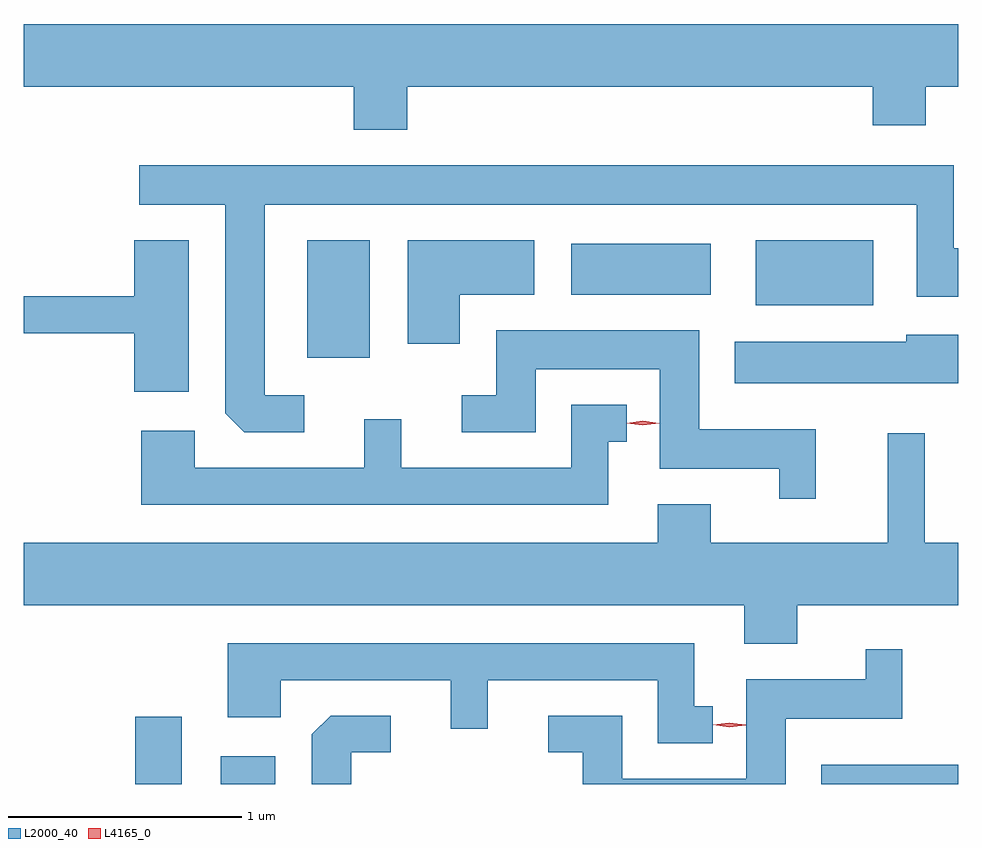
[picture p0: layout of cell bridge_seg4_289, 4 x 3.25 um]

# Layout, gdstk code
import gdstk
lib = gdstk.Library(unit=1e-6, precision=1e-09)
def R(c, l, rs):  # rectangles x0, y0, x1, y1
    for r in rs: c.add(gdstk.rectangle(r[:2], r[2:], *l))
def P(c, l, *ps):  # polygons
    for p in ps: c.add(gdstk.Polygon(p, *l))
L2000_40 = (2000, 40)
L4165_0 = (4165, 0)

bridge_seg4_289 = lib.new_cell('bridge_seg4_289')
R(bridge_seg4_289, L2000_40, [(529.426,1260.671,529.624,1260.959), (529.791,1260.671,530.024,1260.789), (532.361,1260.671,532.948,1260.754), (530.161,1262.496,530.429,1262.999), (532.081,1262.721,532.584,1262.999), (531.291,1262.766,531.889,1262.984)])
P(bridge_seg4_289, L2000_40, [(530.589,1263.656),(532.581,1263.656),(532.581,1263.491),(532.809,1263.491),(532.809,1263.656),(532.948,1263.656),(532.948,1263.924),(528.948,1263.924),(528.948,1263.656),(530.361,1263.656),(530.361,1263.471),(530.589,1263.471)],
  [(530.148,1262.334),(529.979,1262.334),(529.979,1263.151),(532.771,1263.151),(532.771,1262.756),(532.948,1262.756),(532.948,1262.964),(532.929,1262.964),(532.929,1263.319),(529.443,1263.319),(529.443,1263.151),(529.811,1263.151),(529.811,1262.257),(529.892,1262.176),(530.148,1262.176)],
  [(529.654,1262.999),(529.421,1262.999),(529.421,1262.759),(528.948,1262.759),(528.948,1262.601),(529.421,1262.601),(529.421,1262.351),(529.654,1262.351)],
  [(530.814,1262.766),(531.134,1262.766),(531.134,1262.999),(530.591,1262.999),(530.591,1262.556),(530.814,1262.556)],
  [(532.339,1262.189),(531.839,1262.189),(531.839,1262.614),(530.971,1262.614),(530.971,1262.334),(530.823,1262.334),(530.823,1262.176),(531.139,1262.176),(531.139,1262.446),(531.671,1262.446),(531.671,1262.021),(532.181,1262.021),(532.181,1261.893),(532.339,1261.893)],
  [(532.948,1262.594),(532.726,1262.594),(532.726,1262.564),(531.991,1262.564),(531.991,1262.386),(532.948,1262.386)],
  [(531.449,1262.136),(531.528,1262.136),(531.528,1262.294),(531.291,1262.294),(531.291,1262.024),(530.564,1262.024),(530.564,1262.233),(530.406,1262.233),(530.406,1262.024),(529.679,1262.024),(529.679,1262.184),(529.451,1262.184),(529.451,1261.866),(531.449,1261.866)],
  [(532.259,1261.436),(532.948,1261.436),(532.948,1261.704),(532.804,1261.704),(532.804,1262.173),(532.646,1262.173),(532.646,1261.704),(531.889,1261.704),(531.889,1261.869),(531.661,1261.869),(531.661,1261.704),(528.948,1261.704),(528.948,1261.436),(532.031,1261.436),(532.031,1261.271),(532.259,1261.271)],
  [(531.898,1261.004),(531.819,1261.004),(531.819,1261.274),(529.821,1261.274),(529.821,1260.956),(530.049,1260.956),(530.049,1261.116),(530.776,1261.116),(530.776,1260.908),(530.934,1260.908),(530.934,1261.116),(531.661,1261.116),(531.661,1260.846),(531.898,1260.846)],
  [(532.209,1260.951),(532.709,1260.951),(532.709,1261.248),(532.551,1261.248),(532.551,1261.119),(532.041,1261.119),(532.041,1260.694),(531.509,1260.694),(531.509,1260.964),(531.193,1260.964),(531.193,1260.806),(531.341,1260.806),(531.341,1260.671),(532.209,1260.671)],
  [(530.349,1260.806),(530.518,1260.806),(530.518,1260.964),(530.262,1260.964),(530.181,1260.884),(530.181,1260.671),(530.349,1260.671)])
P(bridge_seg4_289, L4165_0, [(531.598,1262.206),(531.529,1262.215),(531.529,1262.215),(531.529,1262.216),(531.598,1262.225),(531.668,1262.216),(531.668,1262.216),(531.668,1262.215)],
  [(531.968,1260.914),(531.899,1260.924),(531.899,1260.924),(531.899,1260.924),(531.968,1260.934),(532.038,1260.924),(532.038,1260.923),(532.038,1260.923)])

lib.write_gds('bridge_seg4_289.gds')
